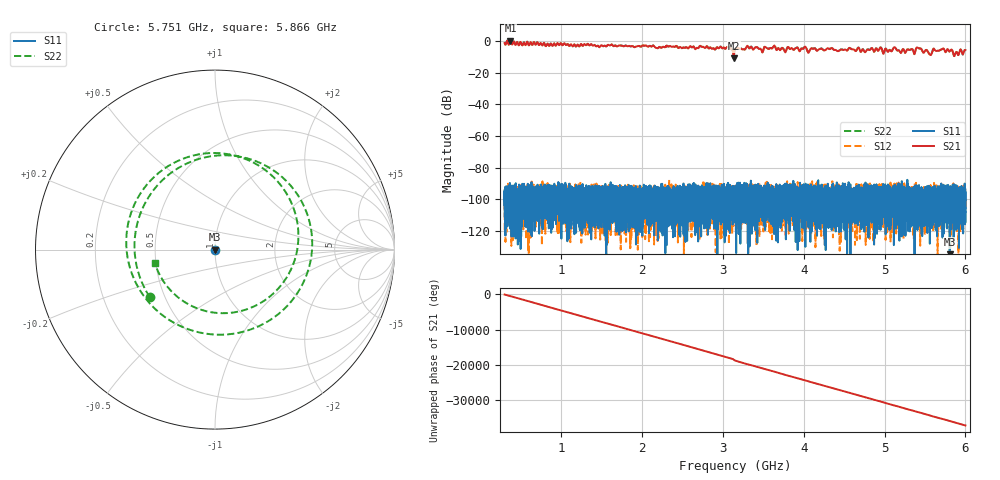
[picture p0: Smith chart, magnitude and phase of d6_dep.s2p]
!Agilent Technologies,N5230C,SG49000117,A.08.50.07
!Agilent N5230C: A.08.50.07
!Date: Sunday, March 17, 2024 06:42:09
!Correction: S11(Off)
!S21(Off)
!S12(Off)
!S22(Off)
!S2P File: Measurements: S11, S21, S12, S22:
# Hz S  RI  R 50
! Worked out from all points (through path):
!   20001 points, 300 MHz to 6 GHz, reference 50 ohm
!   highest |S21| = 0.39 dB at 372.7 MHz (marker M1); lowest = -10.9 dB at 3.133 GHz (marker M2)
!   lowest |S11| = -140.9 dB at 5.806 GHz (marker M3), VSWR 1.00, Z = 50 + j6.8e-07 ohm
!   |S11| at or under -10 dB: start of sweep to end of sweep
!   |S22| runs from -10.9 to 0.4 dB; largest |S21 - S12| = 1
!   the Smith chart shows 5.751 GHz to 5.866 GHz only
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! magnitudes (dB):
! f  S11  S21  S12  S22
! 300 MHz  -103.6  -1.1  -119.4  -1.1
! 372.7 MHz  -100.7  0.4  -110.6  0.4
! 1.25 GHz  -96.5  -2.0  -95.1  -2.0
! 2.2 GHz  -99.2  -4.3  -113.3  -4.3
! 3.069 GHz  -97.4  -3.9  -99.4  -3.9
! 3.133 GHz  -101.7  -10.9  -101.5  -10.9
! 3.15 GHz  -99.4  -4.9  -108.3  -4.9
! 3.321 GHz  -117.3  -4.3  -104.3  -4.3
! 3.475 GHz  -96.4  -5.5  -102.6  -5.4
! 3.624 GHz  -102.0  -3.4  -99.0  -3.4
! 3.764 GHz  -95.5  -6.5  -97.8  -6.5
! 4.1 GHz  -101.7  -4.6  -98.8  -4.5
! 5.05 GHz  -96.6  -6.3  -94.0  -6.3
! 5.124 GHz  -95.2  -3.8  -99.2  -3.8
! 5.186 GHz  -102.8  -6.4  -95.4  -6.3
! 5.359 GHz  -96.5  -7.1  -100.6  -7.1
! 5.419 GHz  -98.4  -4.5  -100.6  -4.5
! 5.562 GHz  -94.9  -8.6  -102.1  -8.6
! 5.618 GHz  -101.4  -5.6  -100.1  -5.6
! 5.806 GHz  -140.9  -6.5  -109.6  -6.6
! 5.884 GHz  -95.9  -7.0  -102.4  -7.1
! 6 GHz  -93.8  -5.6  -113.1  -5.7
